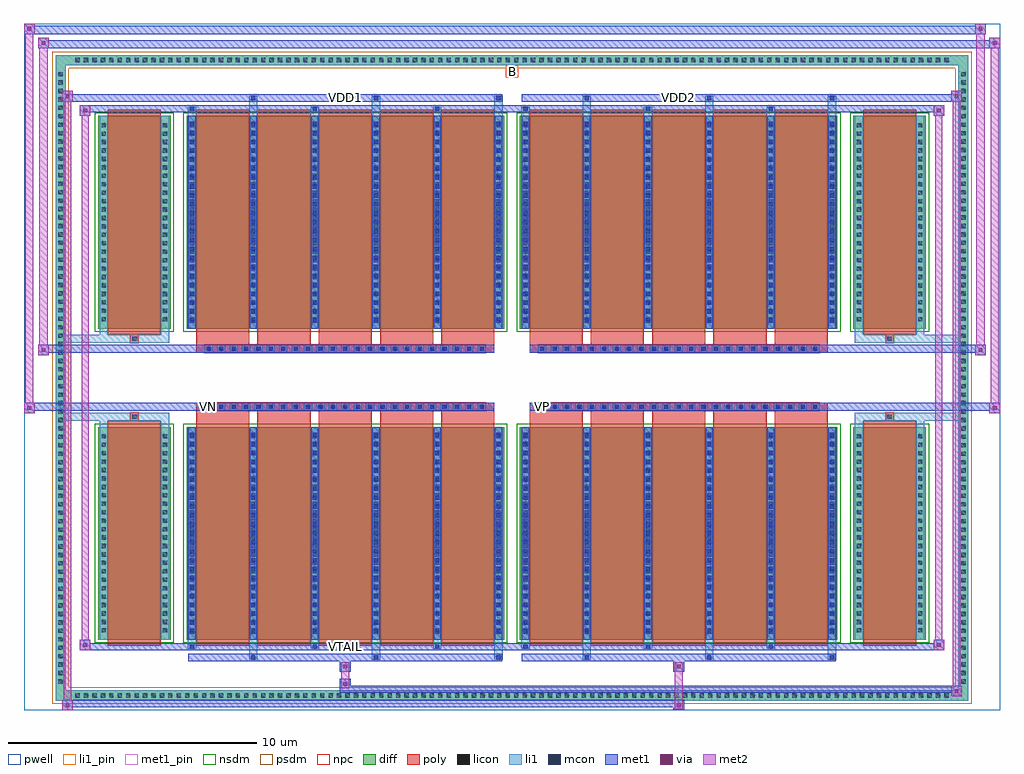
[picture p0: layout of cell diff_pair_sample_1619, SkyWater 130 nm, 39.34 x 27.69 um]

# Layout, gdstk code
import gdstk
lib = gdstk.Library(unit=1e-6, precision=5e-09)
def R(c, l, rs):  # rectangles x0, y0, x1, y1
    for r in rs: c.add(gdstk.rectangle(r[:2], r[2:], *l))
def A(c, l, x, y, w, h, nx, ny, dx, dy):  # array of equal rectangles
    R(c, l, [(x+i*dx, y+j*dy, x+i*dx+w, y+j*dy+h) for i in range(nx) for j in range(ny)])
def P(c, l, *ps):  # polygons
    for p in ps: c.add(gdstk.Polygon(p, *l))
pwell = (64, 44)
diff = (65, 20)
poly = (66, 20)
licon = (66, 44)
li1_pin = (67, 16)
li1 = (67, 20)
mcon = (67, 44)
met1_pin = (68, 16)
met1 = (68, 20)
via = (68, 44)
met2 = (69, 20)
nsdm = (93, 44)
psdm = (94, 20)
npc = (95, 20)

diff_pair_sample_1619 = lib.new_cell('diff_pair_sample_1619')
R(diff_pair_sample_1619, pwell, [(-19.67,-13.41,19.67,14.28), (-16.99,-11.6,-0.01,-0.8), (0.01,-11.6,16.99,-0.8), (-16.99,0.8,-0.01,11.6), (0.01,0.8,16.99,11.6)])
A(diff_pair_sample_1619, diff, -17.715, -13.01, 0.41, 0.41, 104, 2, 0.34, 25.61)
A(diff_pair_sample_1619, diff, -18.4, -12.445, 0.41, 0.41, 1, 73, 0, 0.34)
A(diff_pair_sample_1619, diff, 17.99, -12.445, 0.41, 0.41, 1, 73, 0, 0.34)
R(diff_pair_sample_1619, diff, [(-17.715,-13.01,17.715,-12.6), (-18.4,-12.445,-17.99,12.445), (17.99,-12.445,18.4,12.445), (-16.68,-10.555,-13.76,-1.985), (-13.12,-10.555,-0.32,-1.985), (0.32,-10.555,13.12,-1.985), (13.76,-10.555,16.68,-1.985), (-16.68,1.985,-13.76,10.555), (-13.12,1.985,-0.32,10.555), (0.32,1.985,13.12,10.555), (13.76,1.985,16.68,10.555), (-17.715,12.6,17.715,13.01)])
P(diff_pair_sample_1619, diff, [(18.4,13.01),(-18.4,13.01),(-18.4,-12.6),(-17.99,-12.6),(-17.99,12.6),(17.99,12.6),(17.99,-12.6),(-17.99,-12.6),(-18.4,-12.6),(-18.4,-13.01),(18.4,-13.01)])
A(diff_pair_sample_1619, poly, -12.73, -10.805, 2.14, 9.07, 5, 2, 2.47, 12.54)
A(diff_pair_sample_1619, poly, 0.71, -10.805, 2.14, 9.07, 5, 2, 2.47, 12.54)
A(diff_pair_sample_1619, poly, -12.73, -1.735, 2.14, 0.405, 5, 2, 2.47, 3.065)
A(diff_pair_sample_1619, poly, 0.71, -1.735, 2.14, 0.405, 5, 2, 2.47, 3.065)
A(diff_pair_sample_1619, poly, -12.385, -1.33, 0.33, 0.33, 23, 2, 0.5, 2.33)
A(diff_pair_sample_1619, poly, 1.055, -1.33, 0.33, 0.33, 23, 2, 0.5, 2.33)
R(diff_pair_sample_1619, poly, [(-16.29,-10.805,-14.15,-1.735), (14.15,-10.805,16.29,-1.735), (-15.385,-1.735,-15.055,-1.405), (-15.385,-1.735,-15.055,-1.405), (15.055,-1.735,15.385,-1.405), (15.055,-1.735,15.385,-1.405), (-12.73,-1.33,-0.71,-1), (0.71,-1.33,12.73,-1), (-12.73,1,-0.71,1.33), (0.71,1,12.73,1.33), (-15.385,1.405,-15.055,1.735), (-15.385,1.405,-15.055,1.735), (15.055,1.405,15.385,1.735), (15.055,1.405,15.385,1.735), (-16.29,1.735,-14.15,10.805), (14.15,1.735,16.29,10.805)])
A(diff_pair_sample_1619, licon, -17.595, -12.89, 0.17, 0.17, 104, 2, 0.34, 25.61)
A(diff_pair_sample_1619, licon, -18.28, -12.325, 0.17, 0.17, 1, 73, 0, 0.34)
A(diff_pair_sample_1619, licon, 18.11, -12.325, 0.17, 0.17, 1, 73, 0, 0.34)
A(diff_pair_sample_1619, licon, -16.54, -10.265, 0.17, 0.17, 1, 24, 0, 0.34)
A(diff_pair_sample_1619, licon, -14.07, -10.265, 0.17, 0.17, 1, 24, 0, 0.34)
A(diff_pair_sample_1619, licon, -12.98, -10.265, 0.17, 0.17, 6, 24, 2.47, 0.34)
A(diff_pair_sample_1619, licon, 0.46, -10.265, 0.17, 0.17, 6, 24, 2.47, 0.34)
A(diff_pair_sample_1619, licon, 13.9, -10.265, 0.17, 0.17, 1, 24, 0, 0.34)
A(diff_pair_sample_1619, licon, 16.37, -10.265, 0.17, 0.17, 1, 24, 0, 0.34)
A(diff_pair_sample_1619, licon, -12.305, -1.25, 0.17, 0.17, 23, 2, 0.5, 2.33)
A(diff_pair_sample_1619, licon, 1.135, -1.25, 0.17, 0.17, 23, 2, 0.5, 2.33)
A(diff_pair_sample_1619, licon, -16.54, 2.275, 0.17, 0.17, 1, 24, 0, 0.34)
A(diff_pair_sample_1619, licon, -14.07, 2.275, 0.17, 0.17, 1, 24, 0, 0.34)
A(diff_pair_sample_1619, licon, -12.98, 2.275, 0.17, 0.17, 6, 24, 2.47, 0.34)
A(diff_pair_sample_1619, licon, 0.46, 2.275, 0.17, 0.17, 6, 24, 2.47, 0.34)
A(diff_pair_sample_1619, licon, 13.9, 2.275, 0.17, 0.17, 1, 24, 0, 0.34)
A(diff_pair_sample_1619, licon, 16.37, 2.275, 0.17, 0.17, 1, 24, 0, 0.34)
R(diff_pair_sample_1619, licon, [(-15.305,-1.655,-15.135,-1.485), (15.135,-1.655,15.305,-1.485), (-15.305,1.485,-15.135,1.655), (15.135,1.485,15.305,1.655)])
R(diff_pair_sample_1619, li1_pin, [(-0.25,12.1,0.25,12.6)])
A(diff_pair_sample_1619, li1, -17.675, -12.97, 0.33, 0.33, 104, 2, 0.34, 25.61)
A(diff_pair_sample_1619, li1, -18.36, -12.405, 0.33, 0.33, 1, 73, 0, 0.34)
A(diff_pair_sample_1619, li1, 18.03, -12.405, 0.33, 0.33, 1, 73, 0, 0.34)
A(diff_pair_sample_1619, li1, -10.59, -11.36, 0.33, 0.805, 3, 2, 4.94, 21.915)
A(diff_pair_sample_1619, li1, -10.51, -11.36, 0.17, 0.17, 3, 2, 4.94, 22.55)
A(diff_pair_sample_1619, li1, 2.85, -11.36, 0.33, 0.805, 3, 2, 4.94, 21.915)
A(diff_pair_sample_1619, li1, 2.93, -11.36, 0.17, 0.17, 3, 2, 4.94, 22.55)
A(diff_pair_sample_1619, li1, -13.06, -10.93, 0.33, 0.375, 3, 2, 4.94, 21.485)
A(diff_pair_sample_1619, li1, -12.98, -10.93, 0.17, 0.17, 3, 2, 4.94, 21.69)
A(diff_pair_sample_1619, li1, 0.38, -10.93, 0.33, 0.375, 3, 2, 4.94, 21.485)
A(diff_pair_sample_1619, li1, 0.46, -10.93, 0.17, 0.17, 3, 2, 4.94, 21.69)
A(diff_pair_sample_1619, li1, -13.06, -10.555, 0.33, 8.57, 6, 2, 2.47, 12.54)
A(diff_pair_sample_1619, li1, 0.38, -10.555, 0.33, 8.57, 6, 2, 2.47, 12.54)
A(diff_pair_sample_1619, li1, -16.62, -10.345, 0.33, 0.33, 1, 24, 0, 0.34)
A(diff_pair_sample_1619, li1, -14.15, -10.345, 0.33, 0.33, 1, 24, 0, 0.34)
A(diff_pair_sample_1619, li1, -13.06, -10.345, 0.33, 0.33, 6, 24, 2.47, 0.34)
A(diff_pair_sample_1619, li1, 0.38, -10.345, 0.33, 0.33, 6, 24, 2.47, 0.34)
A(diff_pair_sample_1619, li1, 13.82, -10.345, 0.33, 0.33, 1, 24, 0, 0.34)
A(diff_pair_sample_1619, li1, 16.29, -10.345, 0.33, 0.33, 1, 24, 0, 0.34)
A(diff_pair_sample_1619, li1, -12.98, -10.315, 0.17, 0.17, 6, 23, 2.47, 0.36)
A(diff_pair_sample_1619, li1, -12.98, -10.315, 0.17, 8.09, 6, 2, 2.47, 12.54)
A(diff_pair_sample_1619, li1, 0.46, -10.315, 0.17, 0.17, 6, 23, 2.47, 0.36)
A(diff_pair_sample_1619, li1, 0.46, -10.315, 0.17, 8.09, 6, 2, 2.47, 12.54)
A(diff_pair_sample_1619, li1, -12.385, -1.33, 0.33, 0.33, 23, 2, 0.5, 2.33)
A(diff_pair_sample_1619, li1, 1.055, -1.33, 0.33, 0.33, 23, 2, 0.5, 2.33)
A(diff_pair_sample_1619, li1, -16.62, 2.195, 0.33, 0.33, 1, 24, 0, 0.34)
A(diff_pair_sample_1619, li1, -14.15, 2.195, 0.33, 0.33, 1, 24, 0, 0.34)
A(diff_pair_sample_1619, li1, -13.06, 2.195, 0.33, 0.33, 6, 24, 2.47, 0.34)
A(diff_pair_sample_1619, li1, 0.38, 2.195, 0.33, 0.33, 6, 24, 2.47, 0.34)
A(diff_pair_sample_1619, li1, 13.82, 2.195, 0.33, 0.33, 1, 24, 0, 0.34)
A(diff_pair_sample_1619, li1, 16.29, 2.195, 0.33, 0.33, 1, 24, 0, 0.34)
A(diff_pair_sample_1619, li1, -12.98, 2.225, 0.17, 0.17, 6, 23, 2.47, 0.36)
A(diff_pair_sample_1619, li1, 0.46, 2.225, 0.17, 0.17, 6, 23, 2.47, 0.36)
R(diff_pair_sample_1619, li1, [(-18.4,-13.01,-17.99,-12.6), (-18.4,-13.01,-17.99,-12.6), (-17.99,-13.01,17.99,-12.6), (17.99,-13.01,18.4,-12.6), (17.99,-13.01,18.4,-12.6), (-18.4,-12.6,-17.99,12.6), (17.99,-12.6,18.4,12.6), (-16.62,-10.555,-16.29,-1.985), (-14.15,-10.555,-13.82,-1.985), (13.82,-10.555,14.15,-1.985), (16.29,-10.555,16.62,-1.985), (-16.62,-1.985,-16.29,-1.405), (-14.15,-1.985,-13.82,-1.405), (13.82,-1.985,14.15,-1.405), (16.29,-1.985,16.62,-1.405), (-18.4,-1.735,-15.385,-1.405), (-16.62,-1.735,-15.385,-1.405), (-15.385,-1.735,-15.055,-1.405), (-15.055,-1.735,-13.82,-1.405), (13.82,-1.735,15.055,-1.405), (15.055,-1.735,15.385,-1.405), (15.055,-1.735,18.4,-1.405), (15.385,-1.735,16.62,-1.405), (-18.4,1.405,-15.385,1.735), (-16.62,1.405,-15.385,1.735), (-16.62,1.405,-16.29,1.985), (-15.385,1.405,-15.055,1.735), (-15.055,1.405,-13.82,1.735), (-14.15,1.405,-13.82,1.985), (13.82,1.405,15.055,1.735), (13.82,1.405,14.15,1.985), (15.055,1.405,15.385,1.735), (15.055,1.405,18.4,1.735), (15.385,1.405,16.62,1.735), (16.29,1.405,16.62,1.985), (-16.62,1.985,-16.29,10.555), (-14.15,1.985,-13.82,10.555), (13.82,1.985,14.15,10.555), (16.29,1.985,16.62,10.555), (-18.4,12.6,-17.99,13.01), (-18.4,12.6,-17.99,13.01), (-17.99,12.6,17.99,13.01), (17.99,12.6,18.4,13.01), (17.99,12.6,18.4,13.01)])
A(diff_pair_sample_1619, mcon, -10.51, -11.36, 0.17, 0.17, 3, 2, 4.94, 22.55)
A(diff_pair_sample_1619, mcon, 2.93, -11.36, 0.17, 0.17, 3, 2, 4.94, 22.55)
A(diff_pair_sample_1619, mcon, -12.98, -10.93, 0.17, 0.17, 3, 2, 4.94, 21.69)
A(diff_pair_sample_1619, mcon, 0.46, -10.93, 0.17, 0.17, 3, 2, 4.94, 21.69)
A(diff_pair_sample_1619, mcon, -12.98, -10.315, 0.17, 0.17, 6, 23, 2.47, 0.36)
A(diff_pair_sample_1619, mcon, 0.46, -10.315, 0.17, 0.17, 6, 23, 2.47, 0.36)
A(diff_pair_sample_1619, mcon, -12.305, -1.25, 0.17, 0.17, 23, 2, 0.5, 2.33)
A(diff_pair_sample_1619, mcon, 1.135, -1.25, 0.17, 0.17, 23, 2, 0.5, 2.33)
A(diff_pair_sample_1619, mcon, -12.98, 2.225, 0.17, 0.17, 6, 23, 2.47, 0.36)
A(diff_pair_sample_1619, mcon, 0.46, 2.225, 0.17, 0.17, 6, 23, 2.47, 0.36)
R(diff_pair_sample_1619, met1_pin, [(-6.855,-10.97,-6.585,-10.7), (-12.355,-1.29,-12.085,-1.02), (1.085,-1.29,1.355,-1.02), (-6.855,11.15,-6.585,11.42), (6.585,11.15,6.855,11.42)])
A(diff_pair_sample_1619, met1, -10.57, -11.42, 0.29, 0.29, 3, 2, 4.94, 22.55)
A(diff_pair_sample_1619, met1, 2.87, -11.42, 0.29, 0.29, 3, 2, 4.94, 22.55)
A(diff_pair_sample_1619, met1, -13.04, -10.99, 0.29, 0.29, 3, 2, 4.94, 21.69)
A(diff_pair_sample_1619, met1, 0.4, -10.99, 0.29, 0.29, 3, 2, 4.94, 21.69)
A(diff_pair_sample_1619, met1, -13.04, -10.555, 0.29, 8.57, 6, 2, 2.47, 12.54)
A(diff_pair_sample_1619, met1, 0.4, -10.555, 0.29, 8.57, 6, 2, 2.47, 12.54)
A(diff_pair_sample_1619, met1, -13.04, -10.375, 0.29, 0.29, 6, 23, 2.47, 0.36)
A(diff_pair_sample_1619, met1, 0.4, -10.375, 0.29, 0.29, 6, 23, 2.47, 0.36)
A(diff_pair_sample_1619, met1, -12.365, -1.31, 0.29, 0.29, 23, 2, 0.5, 2.33)
A(diff_pair_sample_1619, met1, 1.075, -1.31, 0.29, 0.29, 23, 2, 0.5, 2.33)
A(diff_pair_sample_1619, met1, -13.04, 2.165, 0.29, 0.29, 6, 23, 2.47, 0.36)
A(diff_pair_sample_1619, met1, 0.4, 2.165, 0.29, 0.29, 6, 23, 2.47, 0.36)
R(diff_pair_sample_1619, met1, [(-18.13,-13.41,-17.7,-12.98), (6.505,-13.41,6.935,-12.98), (-18.13,-13.27,6.935,-12.98), (17.7,-12.84,18.13,-12.41), (-6.935,-12.7,18.13,-12.41), (-6.935,-12.56,-6.505,-12.13), (-6.935,-11.85,-6.505,-11.42), (6.505,-11.85,6.935,-11.42), (-13.04,-11.42,-0.4,-11.13), (0.4,-11.42,13.04,-11.13), (-17.42,-10.99,-16.99,-10.56), (-17.42,-10.99,-13.04,-10.7), (-13.04,-10.99,-0.4,-10.7), (-0.4,-10.99,0.4,-10.7), (0.4,-10.99,13.04,-10.7), (13.04,-10.99,17.42,-10.7), (16.99,-10.99,17.42,-10.56), (-19.67,-1.43,-19.24,-1), (19.24,-1.43,19.67,-1), (-19.67,-1.33,-0.71,-1), (-12.73,-1.33,-0.71,-1), (0.71,-1.33,12.73,-1), (0.71,-1.33,19.67,-1), (-19.1,0.9,-18.67,1.33), (18.67,0.9,19.1,1.33), (-19.1,1,-12.73,1.33), (-12.73,1,-0.71,1.33), (0.71,1,12.73,1.33), (12.73,1,19.1,1.33), (-17.42,10.56,-16.99,10.99), (16.99,10.56,17.42,10.99), (-17.42,10.7,-13.04,10.99), (-13.04,10.7,-0.4,10.99), (-0.4,10.7,0.4,10.99), (0.4,10.7,13.04,10.99), (13.04,10.7,17.42,10.99), (-18.13,11.13,-17.7,11.56), (-18.13,11.13,-13.04,11.42), (-13.04,11.13,-0.4,11.42), (0.4,11.13,13.04,11.42), (13.04,11.13,18.13,11.42), (17.7,11.13,18.13,11.56), (-19.1,13.28,-18.67,13.71), (-19.1,13.28,-16.99,13.61), (-16.99,13.28,16.99,13.61), (16.99,13.28,19.67,13.61), (19.24,13.28,19.67,13.71), (-19.67,13.85,-19.24,14.28), (-19.67,13.85,-16.99,14.18), (-16.99,13.85,16.99,14.18), (16.99,13.85,19.1,14.18), (18.67,13.85,19.1,14.28)])
R(diff_pair_sample_1619, via, [(-17.99,-13.27,-17.84,-13.12), (6.645,-13.27,6.795,-13.12), (17.84,-12.7,17.99,-12.55), (-6.795,-12.42,-6.645,-12.27), (-6.795,-11.71,-6.645,-11.56), (6.645,-11.71,6.795,-11.56), (-17.28,-10.85,-17.13,-10.7), (17.13,-10.85,17.28,-10.7), (-19.53,-1.29,-19.38,-1.14), (19.38,-1.29,19.53,-1.14), (-18.96,1.04,-18.81,1.19), (18.81,1.04,18.96,1.19), (-17.28,10.7,-17.13,10.85), (17.13,10.7,17.28,10.85), (-17.99,11.27,-17.84,11.42), (17.84,11.27,17.99,11.42), (-18.96,13.42,-18.81,13.57), (19.38,13.42,19.53,13.57), (-19.53,13.99,-19.38,14.14), (18.81,13.99,18.96,14.14)])
R(diff_pair_sample_1619, met2, [(-18.13,-13.41,-17.7,-12.98), (-18.06,-13.41,-17.77,11.56), (-17.77,-13.41,-17.7,-12.98), (-18.08,-13.36,-17.75,-13.03), (6.555,-13.36,6.885,-13.03), (6.555,-13.03,6.885,-11.8), (17.7,-12.84,18.13,-12.41), (17.77,-12.84,18.06,11.56), (18.06,-12.84,18.13,-12.41), (17.75,-12.79,18.08,-12.46), (-6.885,-12.51,-6.555,-12.18), (-6.885,-12.18,-6.555,-11.8), (-6.885,-11.8,-6.555,-11.47), (6.555,-11.8,6.885,-11.47), (-17.42,-10.99,-16.99,-10.56), (-17.35,-10.99,-17.06,10.99), (-17.06,-10.99,-16.99,-10.56), (16.99,-10.99,17.42,-10.56), (17.06,-10.99,17.35,10.99), (17.35,-10.99,17.42,-10.56), (-17.37,-10.94,-17.04,-10.61), (17.04,-10.94,17.37,-10.61), (-19.67,-1.43,-19.24,-1), (-19.62,-1.43,-19.29,14.28), (-19.29,-1.43,-19.24,-1), (19.24,-1.43,19.67,-1), (19.29,-1.43,19.62,13.71), (19.62,-1.43,19.67,-1), (-19.62,-1.38,-19.29,-1.05), (19.29,-1.38,19.62,-1.05), (-19.1,0.9,-18.67,1.33), (-19.05,0.9,-18.72,13.71), (-18.72,0.9,-18.67,1.33), (18.67,0.9,19.1,1.33), (18.72,0.9,19.05,14.28), (19.05,0.9,19.1,1.33), (-19.05,0.95,-18.72,1.28), (18.72,0.95,19.05,1.28), (-17.42,10.56,-16.99,10.99), (-17.06,10.56,-16.99,10.99), (16.99,10.56,17.42,10.99), (17.35,10.56,17.42,10.99), (-17.37,10.61,-17.04,10.94), (17.04,10.61,17.37,10.94), (-18.13,11.13,-17.7,11.56), (-17.77,11.13,-17.7,11.56), (17.7,11.13,18.13,11.56), (18.06,11.13,18.13,11.56), (-18.08,11.18,-17.75,11.51), (17.75,11.18,18.08,11.51), (-19.1,13.28,-18.67,13.71), (-18.72,13.28,-18.67,13.71), (19.24,13.28,19.67,13.71), (19.62,13.28,19.67,13.71), (-19.05,13.33,-18.72,13.66), (19.29,13.33,19.62,13.66), (-19.67,13.85,-19.24,14.28), (-19.29,13.85,-19.24,14.28), (18.67,13.85,19.1,14.28), (19.05,13.85,19.1,14.28), (-19.62,13.9,-19.29,14.23), (18.72,13.9,19.05,14.23)])
R(diff_pair_sample_1619, nsdm, [(-16.81,-10.685,-13.63,-1.855), (-13.25,-10.685,-0.19,-1.855), (0.19,-10.685,13.25,-1.855), (13.63,-10.685,16.81,-1.855), (-16.81,1.855,-13.63,10.685), (-13.25,1.855,-0.19,10.685), (0.19,1.855,13.25,10.685), (13.63,1.855,16.81,10.685)])
P(diff_pair_sample_1619, psdm, [(18.53,13.14),(-18.53,13.14),(-18.53,-12.47),(-17.86,-12.47),(-17.86,12.47),(17.86,12.47),(17.86,-12.47),(-17.86,-12.47),(-18.53,-12.47),(-18.53,-13.14),(18.53,-13.14)])
A(diff_pair_sample_1619, npc, -12.405, -1.35, 0.37, 0.37, 23, 2, 0.5, 2.33)
A(diff_pair_sample_1619, npc, 1.035, -1.35, 0.37, 0.37, 23, 2, 0.5, 2.33)
R(diff_pair_sample_1619, npc, [(-15.405,-1.755,-15.035,-1.385), (15.035,-1.755,15.405,-1.385), (-12.405,-1.35,-11.535,-0.98), (-12.405,-1.35,-11.535,-0.98), (-11.905,-1.35,-11.035,-0.98), (-11.905,-1.35,-11.035,-0.98), (-11.405,-1.35,-10.535,-0.98), (-11.405,-1.35,-10.535,-0.98), (-10.905,-1.35,-10.035,-0.98), (-10.905,-1.35,-10.035,-0.98), (-10.405,-1.35,-9.535,-0.98), (-10.405,-1.35,-9.535,-0.98), (-9.905,-1.35,-9.035,-0.98), (-9.905,-1.35,-9.035,-0.98), (-9.405,-1.35,-8.535,-0.98), (-9.405,-1.35,-8.535,-0.98), (-8.905,-1.35,-8.035,-0.98), (-8.905,-1.35,-8.035,-0.98), (-8.405,-1.35,-7.535,-0.98), (-8.405,-1.35,-7.535,-0.98), (-7.905,-1.35,-7.035,-0.98), (-7.905,-1.35,-7.035,-0.98), (-7.405,-1.35,-6.535,-0.98), (-7.405,-1.35,-6.535,-0.98), (-6.905,-1.35,-6.035,-0.98), (-6.905,-1.35,-6.035,-0.98), (-6.405,-1.35,-5.535,-0.98), (-6.405,-1.35,-5.535,-0.98), (-5.905,-1.35,-5.035,-0.98), (-5.905,-1.35,-5.035,-0.98), (-5.405,-1.35,-4.535,-0.98), (-5.405,-1.35,-4.535,-0.98), (-4.905,-1.35,-4.035,-0.98), (-4.905,-1.35,-4.035,-0.98), (-4.405,-1.35,-3.535,-0.98), (-4.405,-1.35,-3.535,-0.98), (-3.905,-1.35,-3.035,-0.98), (-3.905,-1.35,-3.035,-0.98), (-3.405,-1.35,-2.535,-0.98), (-3.405,-1.35,-2.535,-0.98), (-2.905,-1.35,-2.035,-0.98), (-2.905,-1.35,-2.035,-0.98), (-2.405,-1.35,-1.535,-0.98), (-2.405,-1.35,-1.535,-0.98), (-1.905,-1.35,-1.035,-0.98), (-1.905,-1.35,-1.035,-0.98), (1.035,-1.35,1.905,-0.98), (1.035,-1.35,1.905,-0.98), (1.535,-1.35,2.405,-0.98), (1.535,-1.35,2.405,-0.98), (2.035,-1.35,2.905,-0.98), (2.035,-1.35,2.905,-0.98), (2.535,-1.35,3.405,-0.98), (2.535,-1.35,3.405,-0.98), (3.035,-1.35,3.905,-0.98), (3.035,-1.35,3.905,-0.98), (3.535,-1.35,4.405,-0.98), (3.535,-1.35,4.405,-0.98), (4.035,-1.35,4.905,-0.98), (4.035,-1.35,4.905,-0.98), (4.535,-1.35,5.405,-0.98), (4.535,-1.35,5.405,-0.98), (5.035,-1.35,5.905,-0.98), (5.035,-1.35,5.905,-0.98), (5.535,-1.35,6.405,-0.98), (5.535,-1.35,6.405,-0.98), (6.035,-1.35,6.905,-0.98), (6.035,-1.35,6.905,-0.98), (6.535,-1.35,7.405,-0.98), (6.535,-1.35,7.405,-0.98), (7.035,-1.35,7.905,-0.98), (7.035,-1.35,7.905,-0.98), (7.535,-1.35,8.405,-0.98), (7.535,-1.35,8.405,-0.98), (8.035,-1.35,8.905,-0.98), (8.035,-1.35,8.905,-0.98), (8.535,-1.35,9.405,-0.98), (8.535,-1.35,9.405,-0.98), (9.035,-1.35,9.905,-0.98), (9.035,-1.35,9.905,-0.98), (9.535,-1.35,10.405,-0.98), (9.535,-1.35,10.405,-0.98), (10.035,-1.35,10.905,-0.98), (10.035,-1.35,10.905,-0.98), (10.535,-1.35,11.405,-0.98), (10.535,-1.35,11.405,-0.98), (11.035,-1.35,11.905,-0.98), (11.035,-1.35,11.905,-0.98), (11.535,-1.35,12.405,-0.98), (11.535,-1.35,12.405,-0.98), (-12.405,0.98,-11.535,1.35), (-12.405,0.98,-11.535,1.35), (-11.905,0.98,-11.035,1.35), (-11.905,0.98,-11.035,1.35), (-11.405,0.98,-10.535,1.35), (-11.405,0.98,-10.535,1.35), (-10.905,0.98,-10.035,1.35), (-10.905,0.98,-10.035,1.35), (-10.405,0.98,-9.535,1.35), (-10.405,0.98,-9.535,1.35), (-9.905,0.98,-9.035,1.35), (-9.905,0.98,-9.035,1.35), (-9.405,0.98,-8.535,1.35), (-9.405,0.98,-8.535,1.35), (-8.905,0.98,-8.035,1.35), (-8.905,0.98,-8.035,1.35), (-8.405,0.98,-7.535,1.35), (-8.405,0.98,-7.535,1.35), (-7.905,0.98,-7.035,1.35), (-7.905,0.98,-7.035,1.35), (-7.405,0.98,-6.535,1.35), (-7.405,0.98,-6.535,1.35), (-6.905,0.98,-6.035,1.35), (-6.905,0.98,-6.035,1.35), (-6.405,0.98,-5.535,1.35), (-6.405,0.98,-5.535,1.35), (-5.905,0.98,-5.035,1.35), (-5.905,0.98,-5.035,1.35), (-5.405,0.98,-4.535,1.35), (-5.405,0.98,-4.535,1.35), (-4.905,0.98,-4.035,1.35), (-4.905,0.98,-4.035,1.35), (-4.405,0.98,-3.535,1.35), (-4.405,0.98,-3.535,1.35), (-3.905,0.98,-3.035,1.35), (-3.905,0.98,-3.035,1.35), (-3.405,0.98,-2.535,1.35), (-3.405,0.98,-2.535,1.35), (-2.905,0.98,-2.035,1.35), (-2.905,0.98,-2.035,1.35), (-2.405,0.98,-1.535,1.35), (-2.405,0.98,-1.535,1.35), (-1.905,0.98,-1.035,1.35), (-1.905,0.98,-1.035,1.35), (1.035,0.98,1.905,1.35), (1.035,0.98,1.905,1.35), (1.535,0.98,2.405,1.35), (1.535,0.98,2.405,1.35), (2.035,0.98,2.905,1.35), (2.035,0.98,2.905,1.35), (2.535,0.98,3.405,1.35), (2.535,0.98,3.405,1.35), (3.035,0.98,3.905,1.35), (3.035,0.98,3.905,1.35), (3.535,0.98,4.405,1.35), (3.535,0.98,4.405,1.35), (4.035,0.98,4.905,1.35), (4.035,0.98,4.905,1.35), (4.535,0.98,5.405,1.35), (4.535,0.98,5.405,1.35), (5.035,0.98,5.905,1.35), (5.035,0.98,5.905,1.35), (5.535,0.98,6.405,1.35), (5.535,0.98,6.405,1.35), (6.035,0.98,6.905,1.35), (6.035,0.98,6.905,1.35), (6.535,0.98,7.405,1.35), (6.535,0.98,7.405,1.35), (7.035,0.98,7.905,1.35), (7.035,0.98,7.905,1.35), (7.535,0.98,8.405,1.35), (7.535,0.98,8.405,1.35), (8.035,0.98,8.905,1.35), (8.035,0.98,8.905,1.35), (8.535,0.98,9.405,1.35), (8.535,0.98,9.405,1.35), (9.035,0.98,9.905,1.35), (9.035,0.98,9.905,1.35), (9.535,0.98,10.405,1.35), (9.535,0.98,10.405,1.35), (10.035,0.98,10.905,1.35), (10.035,0.98,10.905,1.35), (10.535,0.98,11.405,1.35), (10.535,0.98,11.405,1.35), (11.035,0.98,11.905,1.35), (11.035,0.98,11.905,1.35), (11.535,0.98,12.405,1.35), (11.535,0.98,12.405,1.35), (-15.405,1.385,-15.035,1.755), (15.035,1.385,15.405,1.755)])
diff_pair_sample_1619.add(gdstk.Label('VTAIL', (-6.72,-10.835), layer=68, texttype=5))
diff_pair_sample_1619.add(gdstk.Label('VN', (-12.22,-1.155), layer=68, texttype=5))
diff_pair_sample_1619.add(gdstk.Label('VP', (1.22,-1.155), layer=68, texttype=5))
diff_pair_sample_1619.add(gdstk.Label('B', (0,12.35), layer=67, texttype=5))
diff_pair_sample_1619.add(gdstk.Label('VDD2', (6.72,11.285), layer=68, texttype=5))
diff_pair_sample_1619.add(gdstk.Label('VDD1', (-6.72,11.285), layer=68, texttype=5))

lib.write_gds('diff_pair_sample_1619.gds')
